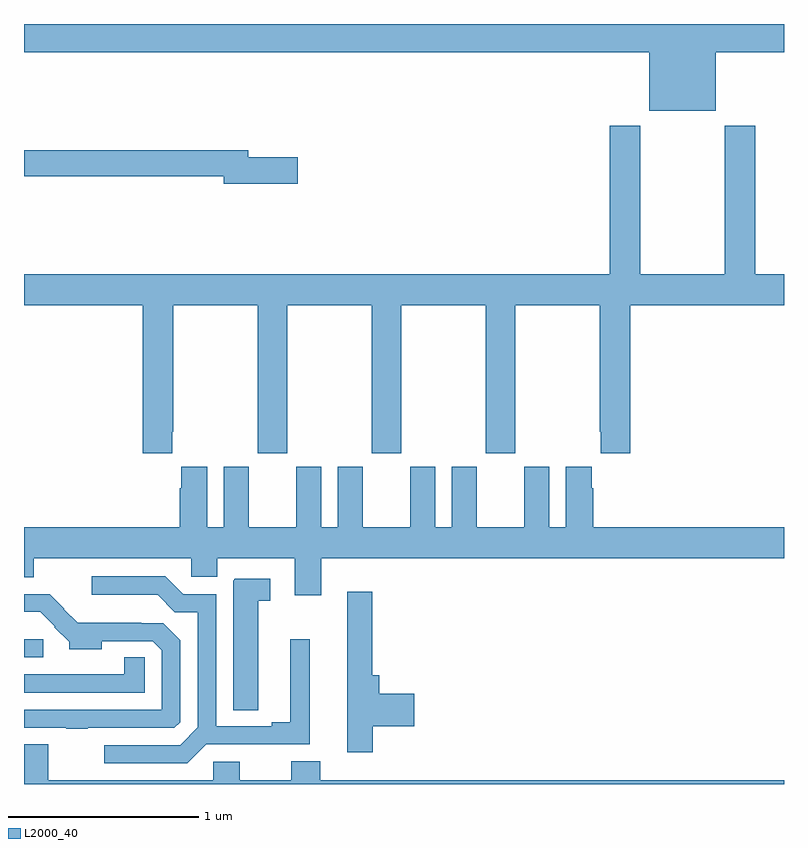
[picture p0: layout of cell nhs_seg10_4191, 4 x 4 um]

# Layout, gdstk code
import gdstk
lib = gdstk.Library(unit=1e-6, precision=1e-09)
def R(c, l, rs):  # rectangles x0, y0, x1, y1
    for r in rs: c.add(gdstk.rectangle(r[:2], r[2:], *l))
def P(c, l, *ps):  # polygons
    for p in ps: c.add(gdstk.Polygon(p, *l))
L2000_40 = (2000, 40)

nhs_seg10_4191 = lib.new_cell('nhs_seg10_4191')
R(nhs_seg10_4191, L2000_40, [(345,1261.167,345.102,1261.263)])
P(nhs_seg10_4191, L2000_40, [(348.64,1264.352),(349,1264.352),(349,1264.5),(345,1264.5),(345,1264.352),(348.29,1264.352),(348.29,1264.043),(348.64,1264.043)],
  [(345.781,1262.353),(345.786,1262.353),(345.786,1263.02),(346.231,1263.02),(346.231,1262.241),(346.386,1262.241),(346.386,1263.02),(346.831,1263.02),(346.831,1262.241),(346.986,1262.241),(346.986,1263.02),(347.431,1263.02),(347.431,1262.241),(347.586,1262.241),(347.586,1263.02),(348.031,1263.02),(348.031,1262.353),(348.035,1262.353),(348.035,1262.241),(348.191,1262.241),(348.191,1263.02),(349,1263.02),(349,1263.184),(348.848,1263.184),(348.848,1263.964),(348.688,1263.964),(348.688,1263.184),(348.243,1263.184),(348.243,1263.964),(348.083,1263.964),(348.083,1263.184),(345,1263.184),(345,1263.02),(345.626,1263.02),(345.626,1262.241),(345.781,1262.241)],
  [(346.441,1263.8),(346.18,1263.8),(346.18,1263.836),(345,1263.836),(345,1263.7),(346.052,1263.7),(346.052,1263.658),(346.441,1263.658)],
  [(346.564,1261.688),(349,1261.688),(349,1261.852),(347.996,1261.852),(347.996,1262.057),(347.989,1262.057),(347.989,1262.17),(347.852,1262.17),(347.852,1261.852),(347.764,1261.852),(347.764,1262.17),(347.633,1262.17),(347.633,1261.852),(347.383,1261.852),(347.383,1262.17),(347.252,1262.17),(347.252,1261.852),(347.164,1261.852),(347.164,1262.17),(347.033,1262.17),(347.033,1261.852),(346.783,1261.852),(346.783,1262.17),(346.652,1262.17),(346.652,1261.852),(346.564,1261.852),(346.564,1262.17),(346.433,1262.17),(346.433,1261.852),(346.183,1261.852),(346.183,1262.17),(346.052,1262.17),(346.052,1261.852),(345.964,1261.852),(345.964,1262.17),(345.827,1262.17),(345.827,1262.057),(345.821,1262.057),(345.821,1261.852),(345,1261.852),(345,1261.589),(345.051,1261.589),(345.051,1261.688),(345.879,1261.688),(345.879,1261.59),(346.018,1261.59),(346.018,1261.688),(346.424,1261.688),(346.424,1261.494),(346.564,1261.494)],
  [(345.958,1260.708),(346.504,1260.708),(346.504,1261.261),(346.4,1261.261),(346.4,1260.824),(346.304,1260.824),(346.304,1260.804),(346.011,1260.804),(346.011,1261.5),(345.837,1261.5),(345.744,1261.593),(345.357,1261.593),(345.357,1261.496),(345.703,1261.496),(345.794,1261.405),(345.915,1261.405),(345.915,1260.798),(345.822,1260.705),(345.423,1260.705),(345.423,1260.609),(345.859,1260.609)],
  [(346.234,1261.465),(346.297,1261.465),(346.297,1261.581),(346.11,1261.581),(346.1,1261.571),(346.1,1260.889),(346.234,1260.889)],
  [(346.835,1260.803),(347.053,1260.803),(347.053,1260.974),(346.871,1260.974),(346.871,1261.072),(346.832,1261.072),(346.832,1261.513),(346.7,1261.513),(346.7,1260.666),(346.835,1260.666)],
  [(345.335,1260.795),(345.792,1260.795),(345.822,1260.825),(345.822,1261.257),(345.733,1261.346),(345.617,1261.346),(345.617,1261.348),(345.283,1261.348),(345.209,1261.421),(345.211,1261.423),(345.135,1261.5),(345,1261.5),(345,1261.406),(345.086,1261.406),(345.162,1261.329),(345.159,1261.326),(345.238,1261.248),(345.238,1261.208),(345.409,1261.208),(345.409,1261.251),(345.678,1261.251),(345.726,1261.203),(345.726,1260.891),(345,1260.891),(345,1260.795),(345.223,1260.795),(345.223,1260.79),(345.335,1260.79)],
  [(345.636,1261.166),(345.528,1261.166),(345.528,1261.078),(345.273,1261.078),(345.273,1261.077),(345,1261.077),(345,1260.981),(345.636,1260.981)],
  [(349,1260.52),(346.559,1260.52),(346.559,1260.619),(346.406,1260.619),(346.406,1260.52),(346.135,1260.52),(346.135,1260.618),(345.996,1260.618),(345.996,1260.52),(345.127,1260.52),(345.127,1260.71),(345,1260.71),(345,1260.5),(349,1260.5)])

lib.write_gds('nhs_seg10_4191.gds')
